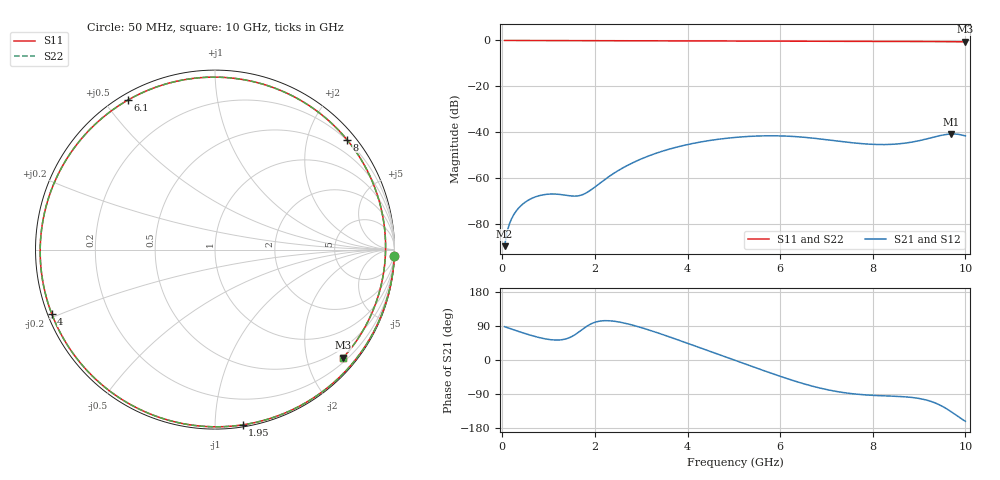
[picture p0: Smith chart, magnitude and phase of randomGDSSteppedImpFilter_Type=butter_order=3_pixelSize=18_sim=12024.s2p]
! freq	dB(S11)	phase(S11)	dB(S12)	phase(S12)
!  dB(S21)	phase(S21)	dB(S22)	phase(S22)
!S-par simulation data
#  GHz  S  DB  R 50
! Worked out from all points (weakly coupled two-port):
!   200 points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, 50 MHz to 10 GHz, reference 50 ohm
!   highest |S21| = -40.70 dB at 9.7 GHz (marker M1); lowest = -89.5 dB at 50 MHz (marker M2)
!   lowest |S11| = -0.6 dB at 10 GHz (marker M3), VSWR 29.38, Z = 14.3 - j135 ohm
!   |S11| at or under -10 dB: nowhere
!   |S22| runs from -0.6 to 0.0 dB; largest |S21 - S12| = 0
!   S11 on the Smith chart (normalised r, x): 50 MHz: 0, -53; 1.95 GHz: 0.01, -1.17; 4 GHz: 0.01, -0.19; 6.1 GHz: 0.02, +0.58; 8 GHz: 0.19, +2.75; 10 GHz: 0.29, -2.71
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0.05  -0.00 -2.2  -89.52 87.9  -89.52 87.9  -0.00 -2.2
0.15  -0.01 -6.5  -80.04 83.7  -80.04 83.7  -0.01 -6.5
0.25  -0.02 -10.8  -75.73 79.5  -75.73 79.5  -0.02 -10.8
0.35  -0.02 -15.0  -73.00 75.4  -73.00 75.4  -0.02 -15.0
0.7  -0.04 -29.9  -68.18 62.3  -68.18 62.3  -0.04 -29.9
1.25  -0.07 -52.8  -67.02 53.0  -67.02 53.0  -0.07 -52.8
1.75  -0.09 -73.1  -66.97 82.7  -66.97 82.7  -0.09 -73.1
1.95  -0.10 -81.0  -64.51 97.2  -64.51 97.2  -0.10 -81.0
2.65  -0.13 -108.1  -54.94 97.0  -54.94 97.0  -0.13 -108.1
3.4  -0.17 -136.3  -48.56 69.8  -48.56 69.8  -0.17 -136.3
4  -0.20 -158.6  -45.30 44.1  -45.30 44.1  -0.20 -158.6
4.55  -0.23 -179.1  -43.32 19.9  -43.32 19.9  -0.23 -179.1
5.05  -0.26 161.8  -42.16 -2.1  -42.16 -2.1  -0.26 161.8
5.55  -0.29 142.3  -41.56 -23.9  -41.56 -23.9  -0.29 142.3
6.1  -0.32 120.1  -41.59 -47.1  -41.59 -47.1  -0.32 120.1
6.7  -0.34 95.1  -42.49 -69.2  -42.49 -69.2  -0.34 95.1
7.35  -0.36 67.5  -44.05 -85.6  -44.05 -85.6  -0.36 67.4
8  -0.38 39.8  -45.21 -93.3  -45.21 -93.3  -0.38 39.8
8.35  -0.40 25.2  -45.26 -95.1  -45.26 -95.1  -0.40 25.1
9  -0.44 -1.3  -43.61 -101.5  -43.61 -101.5  -0.45 -1.3
9.7  -0.54 -28.6  -40.70 -137.1  -40.70 -137.1  -0.54 -28.7
10  -0.59 -40.2  -41.53 -161.8  -41.53 -161.8  -0.59 -40.2
